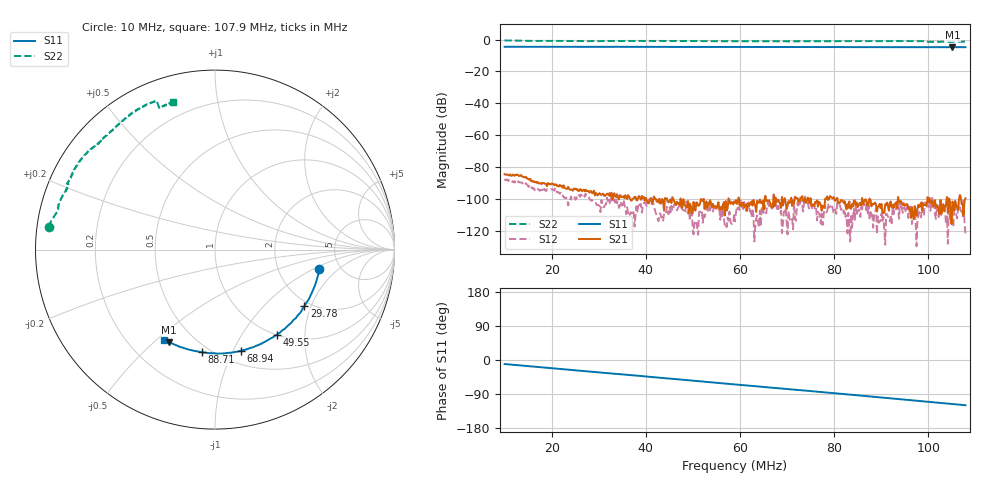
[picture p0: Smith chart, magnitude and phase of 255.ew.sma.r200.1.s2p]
! Anritsu VNA Master:  Model: MS2036C/10/77
! SN:  1601066
! /card0/usr/255.ew.sma.r200.1.s2p
! Existing Calibration Information:
! TYPE:  Current Settings,  Active Cal Settings
! TIME:  12/17/2017 05:57:18 PM,  12/17/2017 05:44:58 PM
! INTERNAL TEMP:  44.0 C,  43.8 C
! # POINTS:  501,  501
! START FREQ:  10.000 MHz,  10.000 MHz
! STOP FREQ:  107.903 125 MHz,  107.903 125 MHz
! SOURCE POWER:  High,  High
! IFBW:  100 Hz,  100 Hz
! AVG FACTOR:  1 ,  1
! REF PLANE 1:  0 mm,  0 mm
! REF PLANE 2:  0 mm,  0 mm
! CAL TYPE:  Full S11,  Full S11
! CAL METHOD:  SOLT,  SOLT
! CAL LINE TYPE:  Coax,  Coax
! DUT PORT 1:  K-Conn(F),  K-Conn(F)
! DUT PORT 2:  K-Conn(F),  K-Conn(F)
! CAL STATUS:  OK: Accuracy High,  --
# GHZ S DB R 50.0
! FREQ.GHZ  S11DB  S11A  S21DB  S21A  S12DB  S12A  S22DB  S22A
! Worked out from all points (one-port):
!   501 points, 10 MHz to 107.9 MHz, reference 50 ohm
!   lowest |S11| = -4.8 dB at 105.2 MHz (marker M1), VSWR 3.70, Z = 18.2 - j28 ohm
!   |S11| at or under -10 dB: nowhere
!   S11 on the Smith chart (normalised r, x): 10 MHz: 3.47, -1.17; 29.78 MHz: 1.86, -1.80; 49.55 MHz: 1.01, -1.45; 68.94 MHz: 0.63, -1.08; 88.71 MHz: 0.45, -0.77; 107.9 MHz: 0.35, -0.53
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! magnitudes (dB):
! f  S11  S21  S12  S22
! 10 MHz  -4.6  -84.5  -87.4  -0.6
! 11.17 MHz  -4.5  -84.6  -88.8  -0.6
! 16.46 MHz  -4.6  -89.6  -95.0  -0.9
! 19.79 MHz  -4.6  -90.9  -93.8  -0.8
! 26.45 MHz  -4.6  -95.2  -97.7  -1.0
! 29.78 MHz  -4.6  -97.8  -103.8  -1.0
! 30.56 MHz  -4.6  -97.5  -100.7  -1.0
! 31.54 MHz  -4.6  -97.5  -103.5  -0.9
! 33.11 MHz  -4.6  -98.1  -101.0  -0.9
! 42.7 MHz  -4.6  -102.2  -113.9  -0.9
! 44.46 MHz  -4.6  -99.6  -104.9  -0.9
! 49.55 MHz  -4.7  -104.3  -106.7  -1.0
! 59.15 MHz  -4.7  -100.7  -108.8  -1.1
! 68.94 MHz  -4.7  -98.8  -121.4  -1.1
! 71.87 MHz  -4.7  -99.2  -113.7  -1.1
! 75.4 MHz  -4.7  -103.6  -106.5  -1.1
! 88.71 MHz  -4.8  -102.3  -108.4  -1.0
! 91.65 MHz  -4.8  -107.3  -113.5  -1.0
! 99.29 MHz  -4.8  -103.9  -102.2  -1.0
! 100.3 MHz  -4.8  -99.4  -105.8  -1.4
! 105.2 MHz  -4.8  -101.7  -112.8  -1.4
! 107.9 MHz  -4.8  -99.6  -121.9  -1.3
